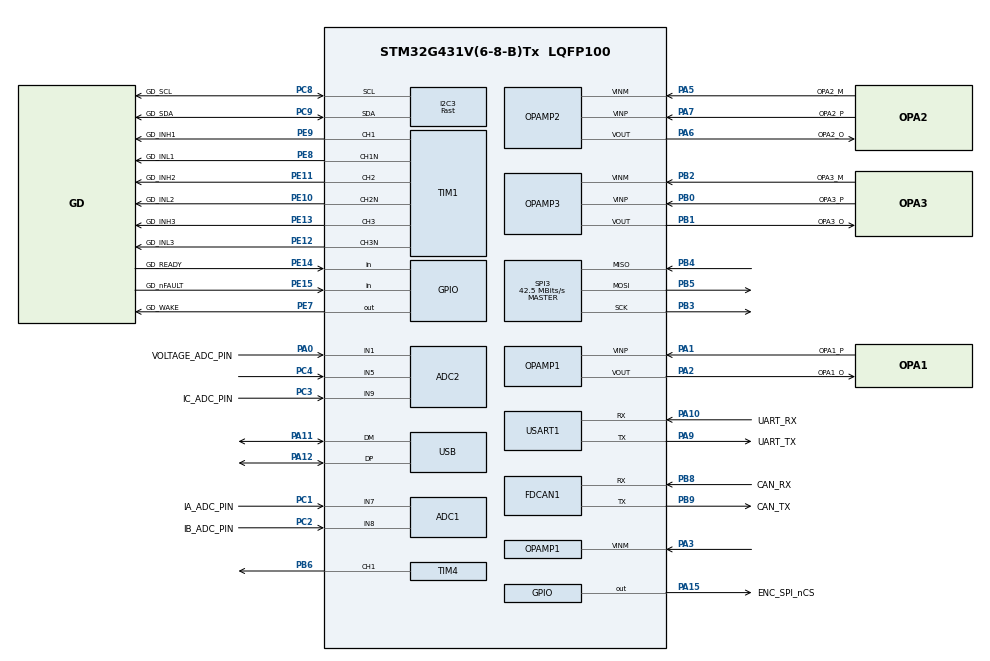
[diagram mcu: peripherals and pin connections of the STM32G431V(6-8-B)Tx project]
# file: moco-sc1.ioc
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ADC1.ContinuousConvMode=ENABLE
ADC1.EnableInjectedConversion=ENABLE
ADC1.EnableRegularConversion=DISABLE
ADC1.ExternalTrigInjecConv=ADC_EXTERNALTRIGINJEC_T1_CC4
ADC1.InjNumberOfConversion=3
ADC1.InjectedChannel-1\#ChannelInjectedConversion=ADC_CHANNEL_7
ADC1.InjectedChannel-2\#ChannelInjectedConversion=ADC_CHANNEL_8
ADC1.InjectedChannel-3\#ChannelInjectedConversion=ADC_CHANNEL_12
ADC1.InjectedOffsetNumber-1\#ChannelInjectedConversion=ADC_OFFSET_NONE
ADC1.InjectedOffsetNumber-2\#ChannelInjectedConversion=ADC_OFFSET_NONE
ADC1.InjectedOffsetNumber-3\#ChannelInjectedConversion=ADC_OFFSET_NONE
ADC1.InjectedRank-1\#ChannelInjectedConversion=1
ADC1.InjectedRank-2\#ChannelInjectedConversion=2
ADC1.InjectedRank-3\#ChannelInjectedConversion=3
ADC1.InjectedSamplingTime-1\#ChannelInjectedConversion=ADC_SAMPLETIME_6CYCLES_5
ADC1.InjectedSamplingTime-2\#ChannelInjectedConversion=ADC_SAMPLETIME_6CYCLES_5
ADC1.InjectedSamplingTime-3\#ChannelInjectedConversion=ADC_SAMPLETIME_2CYCLES_5
ADC1.Overrun=ADC_OVR_DATA_OVERWRITTEN
ADC1.Rank3_Channel=ADC_CHANNEL_12
ADC1.master=1
ADC2.Channel-0\#ChannelRegularConversion=ADC_CHANNEL_9
ADC2.EnableInjectedConversion=ENABLE
ADC2.ExternalTrigInjecConv=ADC_EXTERNALTRIGINJEC_T1_CC4
ADC2.InjNumberOfConversion=2
ADC2.InjectedChannel-1\#ChannelInjectedConversion=ADC_CHANNEL_9
ADC2.InjectedChannel-2\#ChannelInjectedConversion=ADC_CHANNEL_1
ADC2.InjectedOffsetNumber-1\#ChannelInjectedConversion=ADC_OFFSET_NONE
ADC2.InjectedOffsetNumber-2\#ChannelInjectedConversion=ADC_OFFSET_NONE
ADC2.InjectedRank-1\#ChannelInjectedConversion=1
ADC2.InjectedRank-2\#ChannelInjectedConversion=2
ADC2.InjectedSamplingTime-1\#ChannelInjectedConversion=ADC_SAMPLETIME_6CYCLES_5
ADC2.InjectedSamplingTime-2\#ChannelInjectedConversion=ADC_SAMPLETIME_6CYCLES_5
ADC2.NbrOfConversionFlag=1
ADC2.OffsetNumber-0\#ChannelRegularConversion=ADC_OFFSET_NONE
ADC2.Rank-0\#ChannelRegularConversion=1
ADC2.Rank1_Channel=ADC_CHANNEL_9
ADC2.Rank2_Channel=ADC_CHANNEL_1
ADC2.SamplingTime-0\#ChannelRegularConversion=ADC_SAMPLETIME_2CYCLES_5
FDCAN1.CalculateBaudRateNominal=3541666
FDCAN1.CalculateTimeBitNominal=282
FDCAN1.CalculateTimeQuantumNominal=94.11764705882354
FREERTOS.Tasks01=defaultTask,24,128,StartDefaultTask,Default,NULL,Dynamic,NULL,NULL
FREERTOS.configENABLE_FPU=1
I2C3.CustomTiming=Disabled
I2C3.I2C_Speed_Mode=I2C_Fast
I2C3.Timing=0x40621236
Mcu.Family=STM32G4
Mcu.Name=STM32G431V(6-8-B)Tx
Mcu.Package=LQFP100
NVIC.ADC1_2_IRQn=true\:5\:0\:true\:false\:true\:true\:true\:true\:true
NVIC.I2C3_EV_IRQn=true\:5\:0\:true\:false\:true\:true\:true\:true\:true
NVIC.PriorityGroup=NVIC_PRIORITYGROUP_4
NVIC.TIM1_TRG_COM_TIM17_IRQn=true\:15\:0\:false\:false\:true\:false\:false\:true\:true
NVIC.TIM1_UP_TIM16_IRQn=true\:5\:0\:false\:false\:true\:true\:true\:true\:true
NVIC.TIM3_IRQn=true\:5\:0\:true\:false\:true\:true\:true\:true\:true
NVIC.TIM4_IRQn=true\:5\:0\:false\:false\:true\:true\:true\:true\:true
NVIC.TimeBase=TIM1_TRG_COM_TIM17_IRQn
NVIC.TimeBaseIP=TIM17
NVIC.USART1_IRQn=true\:5\:0\:true\:false\:true\:true\:true\:true\:true
PA0.GPIO_Label=VOLTAGE_ADC_PIN
PA0.Mode=IN1-Single-Ended
PA0.Signal=ADC2_IN1
PA1.GPIO_Label=OPA1_P
PA1.Mode=Standalone
PA1.Signal=OPAMP1_VINP
PA10.GPIO_Label=UART_RX
PA10.GPIO_Speed=GPIO_SPEED_FREQ_HIGH
PA10.Mode=Asynchronous
PA10.Signal=USART1_RX
PA11.Mode=Device
PA11.Signal=USB_DM
PA12.Mode=Device
PA12.Signal=USB_DP
PA13.GPIO_Label=SWDIO
PA13.Mode=Serial_Wire
PA13.Signal=SYS_JTMS-SWDIO
PA14.GPIO_Label=SWCLK
PA14.Mode=Serial_Wire
PA14.Signal=SYS_JTCK-SWCLK
PA15.GPIO_Label=ENC_SPI_nCS
PA15.Signal=GPIO_Output
PA2.GPIO_Label=OPA1_O
PA2.Mode=Standalone
PA2.Signal=OPAMP1_VOUT
PA3.Mode=Standalone
PA3.Signal=OPAMP1_VINM
PA5.GPIO_Label=OPA2_M
PA5.Mode=Standalone
PA5.Signal=OPAMP2_VINM
PA6.GPIO_Label=OPA2_O
PA6.Mode=Standalone
PA6.Signal=OPAMP2_VOUT
PA7.GPIO_Label=OPA2_P
PA7.Mode=Standalone
PA7.Signal=OPAMP2_VINP
PA9.GPIO_Label=UART_TX
PA9.GPIO_Speed=GPIO_SPEED_FREQ_HIGH
PA9.Mode=Asynchronous
PA9.Signal=USART1_TX
PB0.GPIO_Label=OPA3_P
PB0.Mode=Standalone
PB0.Signal=OPAMP3_VINP
PB1.GPIO_Label=OPA3_O
PB1.Signal=SharedAnalog_PB1
PB2.GPIO_Label=OPA3_M
PB2.Mode=Standalone
PB2.Signal=OPAMP3_VINM
PB3.Mode=Full_Duplex_Master
PB3.Signal=SPI3_SCK
PB4.Mode=Full_Duplex_Master
PB4.Signal=SPI3_MISO
PB5.Mode=Full_Duplex_Master
PB5.Signal=SPI3_MOSI
PB6.Signal=S_TIM4_CH1
PB8-BOOT0.GPIO_Label=CAN_RX
PB8-BOOT0.GPIO_Speed=GPIO_SPEED_FREQ_HIGH
PB8-BOOT0.Mode=FDCAN_Activate
PB8-BOOT0.Signal=FDCAN1_RX
PB9.GPIO_Label=CAN_TX
PB9.GPIO_Speed=GPIO_SPEED_FREQ_HIGH
PB9.Mode=FDCAN_Activate
PB9.Signal=FDCAN1_TX
PC1.GPIO_Label=IA_ADC_PIN
PC1.Mode=IN7-Single-Ended
PC1.Signal=ADC1_IN7
PC2.GPIO_Label=IB_ADC_PIN
PC2.Mode=IN8-Single-Ended
PC2.Signal=ADC1_IN8
PC3.GPIO_Label=IC_ADC_PIN
PC3.Mode=IN9-Single-Ended
PC3.Signal=ADC2_IN9
PC4.Mode=IN5-Single-Ended
PC4.Signal=ADC2_IN5
PC8.GPIO_Label=GD_SCL
PC8.GPIO_Speed=GPIO_SPEED_FREQ_HIGH
PC8.Mode=I2C
PC8.Signal=I2C3_SCL
PC9.GPIO_Label=GD_SDA
PC9.GPIO_Speed=GPIO_SPEED_FREQ_HIGH
PC9.Mode=I2C
PC9.Signal=I2C3_SDA
PE10.GPIO_Label=GD_INL2
PE10.GPIO_Speed=GPIO_SPEED_FREQ_VERY_HIGH
PE10.Mode=PWM Generation2 CH2 CH2N
PE10.Signal=TIM1_CH2N
PE11.GPIO_Label=GD_INH2
PE11.GPIO_Speed=GPIO_SPEED_FREQ_VERY_HIGH
PE11.Signal=S_TIM1_CH2
PE12.GPIO_Label=GD_INL3
PE12.GPIO_Speed=GPIO_SPEED_FREQ_VERY_HIGH
PE12.Mode=PWM Generation3 CH3 CH3N
PE12.Signal=TIM1_CH3N
PE13.GPIO_Label=GD_INH3
PE13.GPIO_Speed=GPIO_SPEED_FREQ_VERY_HIGH
PE13.Signal=S_TIM1_CH3
PE14.GPIO_Label=GD_READY
PE14.GPIO_PuPd=GPIO_PULLUP
PE14.Signal=GPIO_Input
PE15.GPIO_Label=GD_nFAULT
PE15.Signal=GPIO_Input
PE7.GPIO_Label=GD_WAKE
PE7.GPIO_Speed=GPIO_SPEED_FREQ_LOW
PE7.Signal=GPIO_Output
PE8.GPIO_Label=GD_INL1
PE8.GPIO_Speed=GPIO_SPEED_FREQ_VERY_HIGH
PE8.Mode=PWM Generation1 CH1 CH1N
PE8.Signal=TIM1_CH1N
PE9.GPIO_Label=GD_INH1
PE9.GPIO_Speed=GPIO_SPEED_FREQ_VERY_HIGH
PE9.Signal=S_TIM1_CH1
PF0-OSC_IN.Mode=HSE-External-Oscillator
PF0-OSC_IN.Signal=RCC_OSC_IN
PF1-OSC_OUT.Mode=HSE-External-Oscillator
PF1-OSC_OUT.Signal=RCC_OSC_OUT
ProjectManager.HeapSize=0x200
ProjectManager.StackSize=0x400
ProjectManager.TargetToolchain=MDK-ARM V5.32
RCC.ADC12Freq_Value=170000000
RCC.AHBFreq_Value=170000000
RCC.APB1Freq_Value=170000000
RCC.APB1TimFreq_Value=170000000
RCC.APB2Freq_Value=170000000
RCC.APB2TimFreq_Value=170000000
RCC.CK48CLockSelection=RCC_USBCLKSOURCE_HSI48
RCC.CortexFreq_Value=170000000
RCC.EXTERNAL_CLOCK_VALUE=12288000
RCC.HCLKFreq_Value=170000000
RCC.HSE_VALUE=16000000
RCC.HSI48_VALUE=48000000
RCC.HSI_VALUE=16000000
RCC.LSE_VALUE=32768
RCC.PLLM=RCC_PLLM_DIV4
RCC.PLLN=85
RCC.PLLQ=RCC_PLLQ_DIV4
RCC.SYSCLKFreq_VALUE=170000000
RCC.SYSCLKSource=RCC_SYSCLKSOURCE_PLLCLK
RCC.USBFreq_Value=48000000
RCC.VCOOutputFreq_Value=340000000
SH.S_TIM1_CH1.0=TIM1_CH1,PWM Generation1 CH1 CH1N
SH.S_TIM1_CH2.0=TIM1_CH2,PWM Generation2 CH2 CH2N
SH.S_TIM1_CH3.0=TIM1_CH3,PWM Generation3 CH3 CH3N
SH.S_TIM4_CH1.0=TIM4_CH1,PWM Generation1 CH1
SH.SharedAnalog_PB1.0=OPAMP3_VOUT,Standalone
SH.SharedAnalog_PB1.1=ADC1_IN12,IN12-Single-Ended
SPI3.BaudRatePrescaler=SPI_BAUDRATEPRESCALER_4
SPI3.CalculateBaudRate=42.5 MBits/s
SPI3.DataSize=SPI_DATASIZE_8BIT
SPI3.Direction=SPI_DIRECTION_2LINES
SPI3.Mode=SPI_MODE_MASTER
SPI3.VirtualType=VM_MASTER
STMicroelectronics.X-CUBE-AZRTOS-G4.2.0.0.TX_APP_CREATION=1
STMicroelectronics.X-CUBE-AZRTOS-G4.2.0.0.TX_APP_GENERATE_INIT_CODE=true
STMicroelectronics.X-CUBE-AZRTOS-G4.2.0.0_IsAnAzureRtosMw=true
TIM1.AutoReloadPreload=TIM_AUTORELOAD_PRELOAD_ENABLE
TIM1.Break2Polarity=TIM_BREAK2POLARITY_LOW
TIM1.BreakPolarity=TIM_BREAKPOLARITY_LOW
TIM1.Channel-PWM\ Generation1\ CH1\ CH1N=TIM_CHANNEL_1
TIM1.Channel-PWM\ Generation2\ CH2\ CH2N=TIM_CHANNEL_2
TIM1.Channel-PWM\ Generation3\ CH3\ CH3N=TIM_CHANNEL_3
TIM1.Channel-PWM\ Generation4\ No\ Output=TIM_CHANNEL_4
TIM1.ClockDivision=TIM_CLOCKDIVISION_DIV1
TIM1.CounterMode=TIM_COUNTERMODE_CENTERALIGNED1
TIM1.DeadTime=GD_PWM_TIM_DTG
TIM1.OCNPolarity_1=TIM_OCNPOLARITY_HIGH
TIM1.OCNPolarity_2=TIM_OCNPOLARITY_HIGH
TIM1.OCNPolarity_3=TIM_OCNPOLARITY_HIGH
TIM1.PeriodNoDither=GD_PWM_TIM_ARR
TIM1.Prescaler=GD_PWM_TIM_PSC
TIM1.PulseNoDither_1=2125
TIM1.PulseNoDither_2=2125
TIM1.PulseNoDither_3=2125
TIM1.PulseNoDither_4=4000-1
TIM1.RepetitionCounter=0
TIM1.TIM_MasterOutputTrigger=TIM_TRGO_OC4REF
TIM3.PeriodNoDither=ML_TIM_ARR
TIM3.Prescaler=ML_TIM_PSC
TIM4.Channel-PWM\ Generation1\ CH1=TIM_CHANNEL_1
TIM4.PeriodNoDither=256-1
TIM4.Prescaler=2735-1
USART1.FIFOMode=FIFOMODE_ENABLE
USART1.VirtualMode-Asynchronous=VM_ASYNC
VP_FREERTOS_VS_CMSIS_V2.Mode=CMSIS_V2
VP_SYS_VS_DBSignals.Mode=DisableDeadBatterySignals
VP_SYS_VS_tim17.Mode=TIM17
VP_SYS_V_VREFBUF.Mode=ExternalMode
VP_TIM16_VS_ClockSourceINT.Mode=Enable_Timer
VP_TIM1_VS_no_output4.Mode=PWM Generation4 No Output
VP_TIM3_VS_ClockSourceINT.Mode=Internal
VP_TIM4_VS_ClockSourceINT.Mode=Internal
board=custom

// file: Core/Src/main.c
/* USER CODE BEGIN Header */
/**
  ******************************************************************************
  * @file           : main.c
  * @brief          : Main program body
  ******************************************************************************
  * @attention
  *
  * Copyright (c) 2024 STMicroelectronics.
  * All rights reserved.
  *
  * This software is licensed under terms that can be found in the LICENSE file
  * in the root directory of this software component.
  * If no LICENSE file comes with this software, it is provided AS-IS.
  *
  ******************************************************************************
  */
/* USER CODE END Header */
#include "main.h"
#include "cmsis_os.h"
#include "adc.h"
#include "fdcan.h"
#include "i2c.h"
#include "opamp.h"
#include "spi.h"
#include "tim.h"
#include "usart.h"
#include "usb.h"
#include "gpio.h"

/* USER CODE BEGIN Includes */
#include "stspin32g4_gate_driver.h"
#include "heartbeat.h"
#include "stspin32g4.h"
/* USER CODE END Includes */

void SystemClock_Config(void);
void MX_FREERTOS_Init(void);

int main(void)
{

  /* MCU Configuration--------------------------------------------------------*/

  /* Reset of all peripherals, Initializes the Flash interface and the Systick. */
  HAL_Init();

  /* Configure the system clock */
  SystemClock_Config();

  /* Initialize all configured peripherals */
  MX_GPIO_Init();
  MX_FDCAN1_Init();
  MX_I2C3_Init();
  MX_OPAMP1_Init();
  MX_OPAMP2_Init();
  MX_OPAMP3_Init();
  MX_TIM1_Init();
  MX_TIM16_Init();
  MX_USART1_UART_Init();
  MX_TIM3_Init();
  MX_ADC1_Init();
  MX_USB_PCD_Init();
  MX_ADC2_Init();
  MX_SPI3_Init();
  MX_TIM4_Init();
  /* USER CODE BEGIN 2 */

//	LL_ADC_INJ_StartConversion(ADC1);
//	LL_ADC_INJ_StartConversion(ADC2);

	  heartbeat_init();

 	  spg4_init();

	  uint8_t state = gd_init();

  /* USER CODE END 2 */

  /* Init scheduler */
  osKernelInitialize();

  /* Call init function for freertos objects (in cmsis_os2.c) */
  MX_FREERTOS_Init();

  /* Start scheduler */
  osKernelStart();

  /* We should never get here as control is now taken by the scheduler */

  /* Infinite loop */
  while (1)
  {

    /* USER CODE BEGIN 3 */

    //LL_USART_TransmitData8(USART1, (uint8_t)vbus_adc);

    //spg4_set_pwm(60, 0, 0);
    HAL_Delay(500);
  }
  /* USER CODE END 3 */
}

void SystemClock_Config(void)
{
  LL_FLASH_SetLatency(LL_FLASH_LATENCY_4);
  while(LL_FLASH_GetLatency() != LL_FLASH_LATENCY_4)
  {
  }
  LL_PWR_EnableRange1BoostMode();
  LL_RCC_HSI_Enable();
   /* Wait till HSI is ready */
  while(LL_RCC_HSI_IsReady() != 1)
  {
  }

  LL_RCC_HSI_SetCalibTrimming(64);
  LL_RCC_HSI48_Enable();
   /* Wait till HSI48 is ready */
  while(LL_RCC_HSI48_IsReady() != 1)
  {
  }

  LL_RCC_PLL_ConfigDomain_SYS(LL_RCC_PLLSOURCE_HSI, LL_RCC_PLLM_DIV_4, 85, LL_RCC_PLLR_DIV_2);
  LL_RCC_PLL_EnableDomain_SYS();
  LL_RCC_PLL_Enable();
   /* Wait till PLL is ready */
  while(LL_RCC_PLL_IsReady() != 1)
  {
  }

  LL_RCC_SetSysClkSource(LL_RCC_SYS_CLKSOURCE_PLL);
  LL_RCC_SetAHBPrescaler(LL_RCC_SYSCLK_DIV_2);
   /* Wait till System clock is ready */
  while(LL_RCC_GetSysClkSource() != LL_RCC_SYS_CLKSOURCE_STATUS_PLL)
  {
  }

  /* Insure 1us transition state at intermediate medium speed clock*/
  for (__IO uint32_t i = (170 >> 1); i !=0; i--);

  /* Set AHB prescaler*/
  LL_RCC_SetAHBPrescaler(LL_RCC_SYSCLK_DIV_1);
  LL_RCC_SetAPB1Prescaler(LL_RCC_APB1_DIV_1);
  LL_RCC_SetAPB2Prescaler(LL_RCC_APB2_DIV_1);
  LL_SetSystemCoreClock(170000000);

   /* Update the time base */
  if (HAL_InitTick (TICK_INT_PRIORITY) != HAL_OK)
  {
    Error_Handler();
  }
}

void HAL_TIM_PeriodElapsedCallback(TIM_HandleTypeDef *htim)
{
  if (htim->Instance == TIM17)
  {
    HAL_IncTick();
  }
}

void Error_Handler(void)
{
  __disable_irq();
  while (1)
  {
  }
}

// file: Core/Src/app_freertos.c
/* USER CODE BEGIN Header */
/**
  ******************************************************************************
  * File Name          : app_freertos.c
  * Description        : Code for freertos applications
  ******************************************************************************
  * @attention
  *
  * Copyright (c) 2025 STMicroelectronics.
  * All rights reserved.
  *
  * This software is licensed under terms that can be found in the LICENSE file
  * in the root directory of this software component.
  * If no LICENSE file comes with this software, it is provided AS-IS.
  *
  ******************************************************************************
  */
/* USER CODE END Header */

#include "FreeRTOS.h"
#include "task.h"
#include "main.h"
#include "cmsis_os.h"

/* USER CODE BEGIN Includes */
#include "stspin32g4_gate_driver.h"
#include "heartbeat.h"
#include "stspin32g4.h"
/* USER CODE END Includes */

/* USER CODE BEGIN PTD */
extern float vbus_adc;
uint8_t state=0;
/* USER CODE END PTD */

/* Definitions for defaultTask */
osThreadId_t defaultTaskHandle;
const osThreadAttr_t defaultTask_attributes = {
  .name = "defaultTask",
  .priority = (osPriority_t) osPriorityNormal,
  .stack_size = 128 * 4
};

void StartDefaultTask(void *argument);

void MX_FREERTOS_Init(void); /* (MISRA C 2004 rule 8.1) */

void MX_FREERTOS_Init(void) {

  /* Create the thread(s) */
  /* creation of defaultTask */
  defaultTaskHandle = osThreadNew(StartDefaultTask, NULL, &defaultTask_attributes);

}

void StartDefaultTask(void *argument)
{
  /* USER CODE BEGIN StartDefaultTask */

	//
		     //

  /* Infinite loop */
  for(;;)
  {

		uint8_t s = get_status();
    LL_USART_TransmitData8(USART1, s);
    LL_USART_TransmitData8(USART1, 0x00);
    //gd_clear_fault();
    osDelay(500);

		//spg4_set_pwm(0.5,0.5,0.5);
  }
  /* USER CODE END StartDefaultTask */
}
